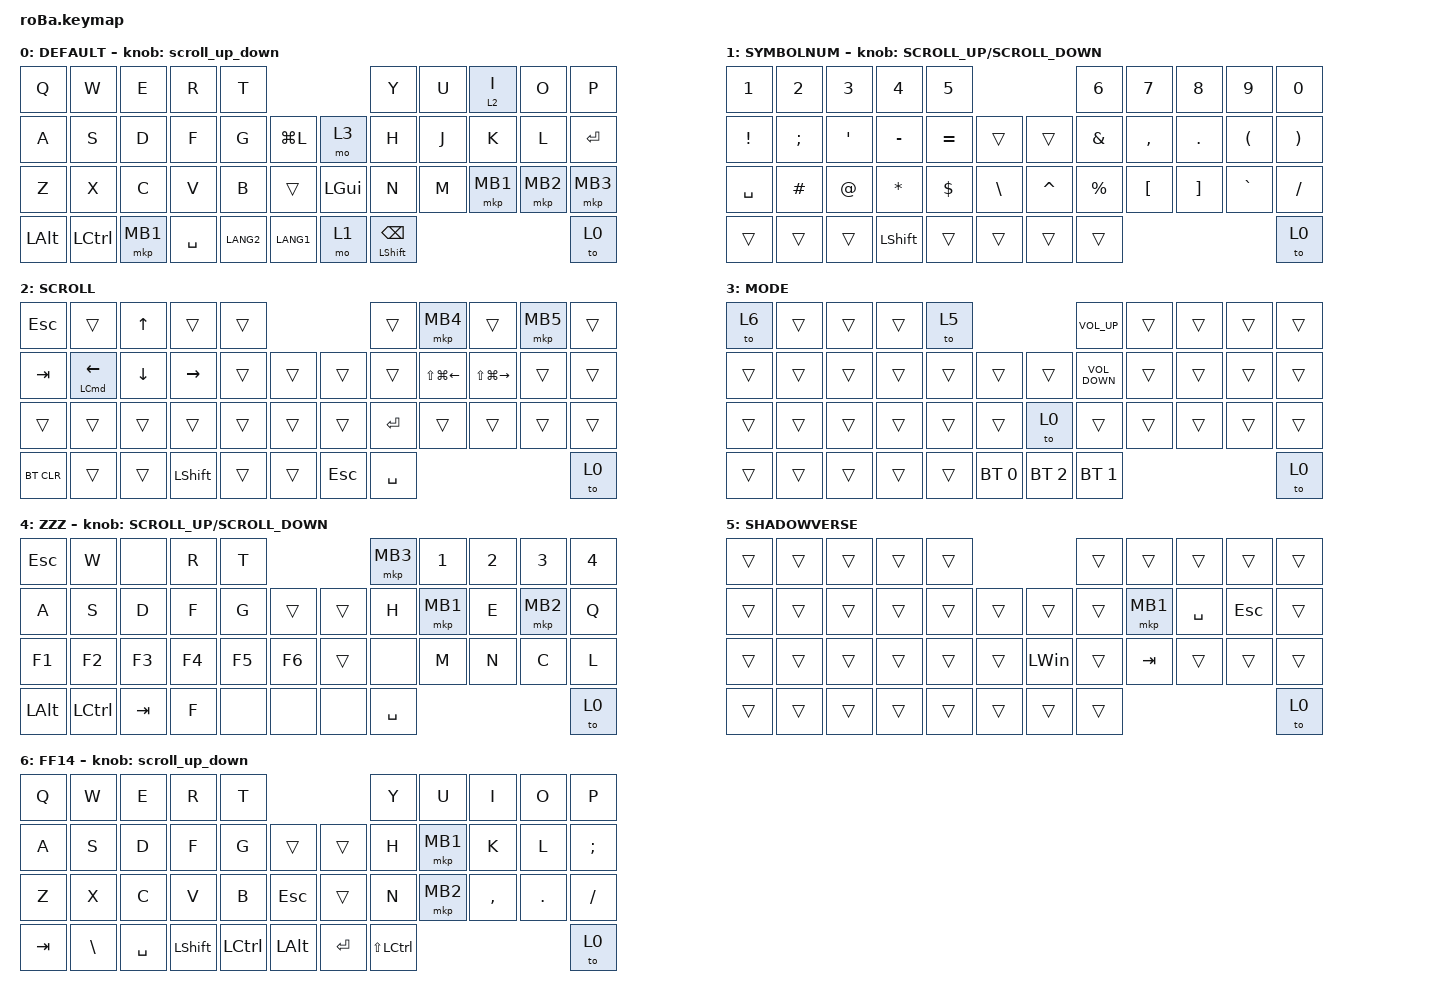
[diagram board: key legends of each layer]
// エンコーダのマウススクロール量 (ZMK 既定は 10)
// pointing.h 内で #ifndef ガードされているため include より前に置くこと
#define ZMK_POINTING_DEFAULT_SCRL_VAL 100

#include <behaviors.dtsi>
#include <dt-bindings/zmk/bt.h>
#include <dt-bindings/zmk/keys.h>
#include <dt-bindings/zmk/pointing.h>

&mt {
    flavor = "balanced";
    quick-tap-ms = <0>;
};

&trackball {
    // automouse-layer = <1>;

    scroll-layers = <2>;

    // arrows {
    //     layers = <3>;
    //     bindings =
    //         <&kp RIGHT_ARROW>,
    //         <&kp LEFT_ARROW>,
    //         <&kp UP_ARROW>,
    //         <&kp DOWN_ARROW>;
    //     tick = <10>;
    //     wait-ms = <5>;
    //     tap-ms = <5>;
    // };
};

/ {
    combos {
        compatible = "zmk,combos";

        left_shift_and_ctrl {
            bindings = <&kp LS(LEFT_CONTROL)>;
            key-positions = <13 12>;
        };

        right_shift_and_ctrl {
            bindings = <&kp RS(RIGHT_CONTROL)>;
            key-positions = <18 19>;
        };

        left_command {
            bindings = <&kp LEFT_COMMAND>;
            key-positions = <13 25>;
        };

        right_command {
            bindings = <&kp RIGHT_COMMAND>;
            key-positions = <30 18>;
        };
    };

    behaviors {
        scroll_up_down: behavior_sensor_rotate_mouse_wheel_up_down {
            compatible = "zmk,behavior-sensor-rotate";
            #sensor-binding-cells = <0>;
            bindings = <&msc SCRL_DOWN>, <&msc SCRL_UP>;
            tap-ms = <20>;
        };

        lt_to_layer_0: lt_to_layer_0 {
            compatible = "zmk,behavior-hold-tap";
            label = "LAYER_TAP_TO_0";
            bindings = <&mo>, <&to_layer_0>;

            #binding-cells = <2>;
            tapping-term-ms = <200>;
        };
    };

    macros {
        to_layer_0: to_layer_0 {
            compatible = "zmk,behavior-macro-one-param";
            #binding-cells = <1>;
            bindings = <&to 0 &macro_param_1to1 &kp MACRO_PLACEHOLDER>;
            label = "TO_LAYER_0";
        };
    };

    keymap {
        compatible = "zmk,keymap";

        DEFAULT {
            bindings = <
&kp Q         &kp W             &kp E     &kp R      &kp T                                   &kp Y                     &kp U  &lt 2 I   &kp O     &kp P
&kp A         &kp S             &kp D     &kp F      &kp G      &kp LG(L)      &mo 3         &kp H                     &kp J  &kp K     &kp L     &kp ENTER
&kp Z         &kp X             &kp C     &kp V      &kp B      &trans         &kp LEFT_GUI  &kp N                     &kp M  &mkp MB1  &mkp MB2  &mkp MB3
&kp LEFT_ALT  &kp LEFT_CONTROL  &mkp MB1  &kp SPACE  &kp LANG2  &kp LANG1      &mo 1         &mt LEFT_SHIFT BACKSPACE                             &to 0
            >;

            sensor-bindings = <&scroll_up_down>;
        };

        SYMBOLNUM {
            bindings = <
&kp NUMBER_1     &kp NUMBER_2   &kp NUMBER_3    &kp NUMBER_4    &kp NUMBER_5                                &kp NUMBER_6   &kp N7            &kp NUMBER_8       &kp N9                &kp N0
&kp EXCLAMATION  &kp SEMICOLON  &kp APOSTROPHE  &kp MINUS       &kp EQUAL     &trans             &trans     &kp AMPERSAND  &kp COMMA         &kp PERIOD         &kp LEFT_PARENTHESIS  &kp RIGHT_PARENTHESIS
&kp SPACE        &kp HASH       &kp AT_SIGN     &kp STAR        &kp DOLLAR    &kp BACKSLASH      &kp CARET  &kp PERCENT    &kp LEFT_BRACKET  &kp RIGHT_BRACKET  &kp GRAVE             &kp SLASH
&trans           &trans         &trans          &kp LEFT_SHIFT  &trans        &trans             &trans     &trans                                                                    &to 0
            >;

            sensor-bindings = <&inc_dec_kp K_SCROLL_UP K_SCROLL_DOWN>;
        };

        SCROLL {
            bindings = <
&kp ESCAPE  &trans                 &kp UP_ARROW    &trans          &trans                          &trans     &mkp MB4                &trans             &mkp MB5  &trans
&kp TAB     &mt LEFT_COMMAND LEFT  &kp DOWN_ARROW  &kp RIGHT       &trans  &trans      &trans      &trans     &kp LS(LG(LEFT_ARROW))  &kp LS(LG(RIGHT))  &trans    &trans
&trans      &trans                 &trans          &trans          &trans  &trans      &trans      &kp ENTER  &trans                  &trans             &trans    &trans
&bt BT_CLR  &trans                 &trans          &kp LEFT_SHIFT  &trans  &trans      &kp ESCAPE  &kp SPACE                                                       &to 0
            >;
        };

        MODE {
            bindings = <
&to 6   &trans  &trans  &trans  &to 5                                   &kp C_VOLUME_UP    &trans  &trans  &trans  &trans
&trans  &trans  &trans  &trans  &trans  &trans            &trans        &kp C_VOLUME_DOWN  &trans  &trans  &trans  &trans
&trans  &trans  &trans  &trans  &trans  &trans            &to 0         &trans             &trans  &trans  &trans  &trans
&trans  &trans  &trans  &trans  &trans  &bt BT_SEL 0      &bt BT_SEL 2  &bt BT_SEL 1                               &to 0
            >;
        };

        ZZZ {
            bindings = <
&kp ESCAPE    &kp W             &none    &kp R   &kp T                       &mkp MB3   &kp NUMBER_1  &kp NUMBER_2  &kp NUMBER_3  &kp NUMBER_4
&kp A         &kp S             &kp D    &kp F   &kp G   &trans      &trans  &kp H      &mkp MB1      &kp E         &mkp MB2      &kp Q
&kp F1        &kp F2            &kp F3   &kp F4  &kp F5  &kp F6      &trans  &none      &kp M         &kp N         &kp C         &kp L
&kp LEFT_ALT  &kp LEFT_CONTROL  &kp TAB  &kp F   &none   &none       &none   &kp SPACE                                            &to 0
            >;

            sensor-bindings = <&inc_dec_kp K_SCROLL_UP K_SCROLL_DOWN>;
        };

        SHADOWVERSE {
            bindings = <
&trans  &trans  &trans  &trans  &trans                            &trans  &trans    &trans     &trans      &trans
&trans  &trans  &trans  &trans  &trans  &trans      &trans        &trans  &mkp MB1  &kp SPACE  &kp ESCAPE  &trans
&trans  &trans  &trans  &trans  &trans  &trans      &kp LEFT_WIN  &trans  &kp TAB   &trans     &trans      &trans
&trans  &trans  &trans  &trans  &trans  &trans      &trans        &trans                                   &to 0
            >;
        };

        FF14 {
            bindings = <
&kp Q    &kp W          &kp E      &kp R      &kp T                                 &kp Y          &kp U     &kp I      &kp O    &kp P
&kp A    &kp S          &kp D      &kp F      &kp G      &trans          &trans     &kp H          &mkp MB1  &kp K      &kp L    &kp SEMI
&kp Z    &kp X          &kp C      &kp V      &kp B      &kp ESCAPE      &trans     &kp N          &mkp MB2  &kp COMMA  &kp DOT  &kp FSLH
&kp TAB  &kp BACKSLASH  &kp SPACE  &kp LSHFT  &kp LCTRL  &kp LALT        &kp ENTER  &kp LS(LCTRL)                                &to 0
            >;

            sensor-bindings = <&scroll_up_down>;
        };
    };
};
